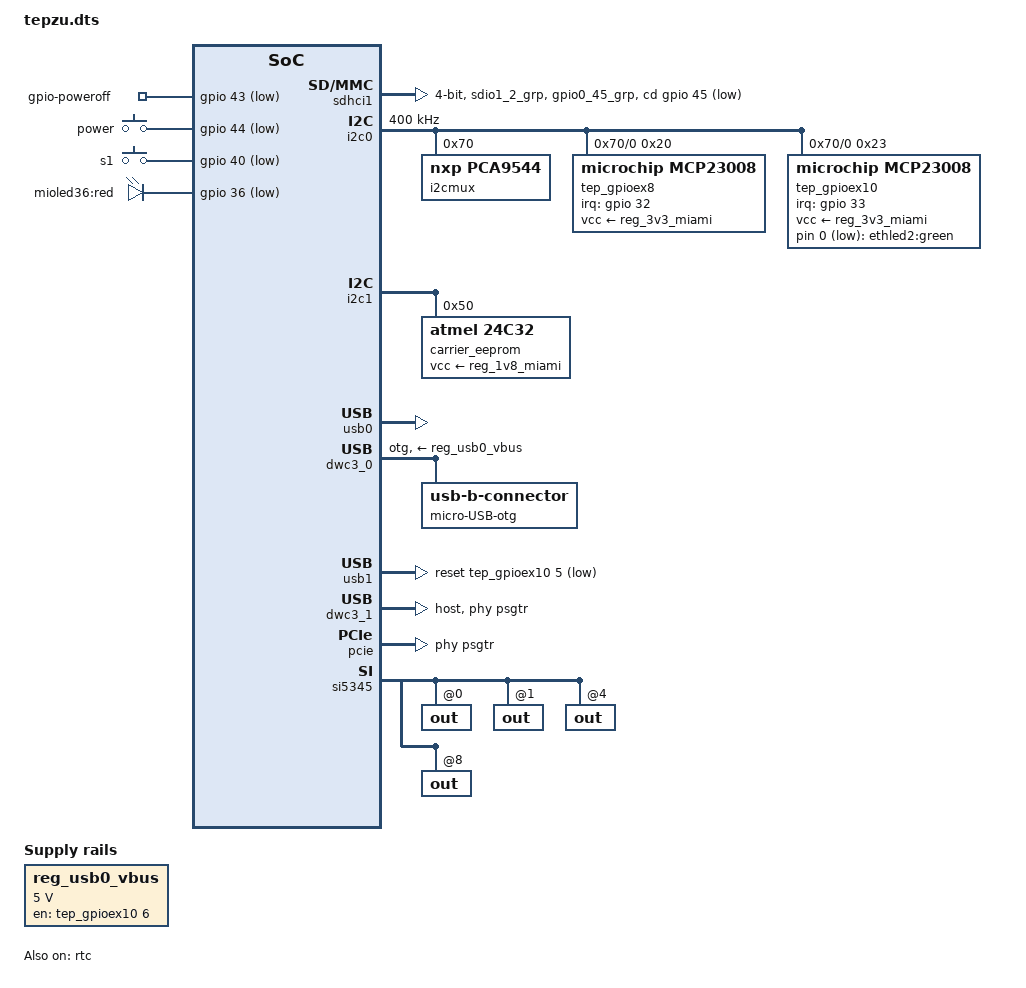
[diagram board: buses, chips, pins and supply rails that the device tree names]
/*
 * dts file for tepzu (Topic Developmentkit Plus) V2 boards without PL
 *
 * (C) Copyright 2020-2023, Topic Embedded Products BV
 *
 * This program is free software; you can redistribute it and/or
 * modify it under the terms of the GNU General Public License as
 * published by the Free Software Foundation; either version 2 of
 * the License, or (at your option) any later version.
 */

#include "zynqmp-topic-miamiplusmp.dts"

/ {
	gpio-poweroff {
		compatible = "gpio-poweroff";
		gpios = <&gpio 43 GPIO_ACTIVE_LOW>;
		force-pm-power-off; /* Replace the PSCI power-off callback */
	};

	gpio-keys-mio {
		compatible = "gpio-keys";
		#address-cells = <1>;
		#size-cells = <0>;
		power {
			label = "power";
			gpios = <&gpio 44 GPIO_ACTIVE_LOW>;
			linux,code = <116>; /* KEY_POWER */
		};
		s1 {
			label = "s1";
			gpios = <&gpio 40 GPIO_ACTIVE_LOW>;
			linux,code = <28>; /* KEY_ENTER */
		};
	};

	leds-mio {
		compatible = "gpio-leds";
		leds-mio36 {
			label = "mioled36:red";
			/* LED connected from 3v3 to 1v8 IO, must use open drain output */
			gpios = <&gpio 36 (GPIO_ACTIVE_LOW | GPIO_OPEN_DRAIN)>;
			linux,default-trigger = "mmc0"; /* eMMC activity */
		};
	};

	leds-gpioex {
		compatible = "gpio-leds";
		leds-eth2 {
			label = "ethled2:green";
			gpios = <&tep_gpioex10 0 GPIO_ACTIVE_LOW>;
			linux,default-trigger = "ff0d0000.ethernet-ffffffff:01:link";
		};
	};

	/* Regulator for the 5V USB VBUS power line. */
	reg_usb0_vbus: regulator_usb {
		compatible = "regulator-fixed";
		regulator-name = "usb0-vbus";
		regulator-min-microvolt = <5000000>;
		regulator-max-microvolt = <5000000>;
		gpio = <&tep_gpioex10 6 GPIO_ACTIVE_HIGH>;
		enable-active-high;
	};
};

/* SD1 */
&sdhci1 {
	status = "okay";
	bus-width = <4>;
	xlnx,mio_bank = <1>;
	pinctrl-names = "default";
	pinctrl-0 = <&pinctrl_sdhci1_default>;
	/* Use GPIO based card detect */
	cd-gpios = <&gpio 45 GPIO_ACTIVE_LOW>;
	no-1-8-v;
	disable-wp;
};

&i2c0 {
	status = "okay";
	clock-frequency = <400000>;

	/* I2C mux */
	i2cmux: i2cswitch@70 {
		compatible = "nxp,pca9544";
		#address-cells = <1>;
		#size-cells = <0>;
		reg = <0x70>;

		i2cmux_0: i2c@0 {
			#address-cells = <1>;
			#size-cells = <0>;
			reg = <0>;

			/* GPIO expander U8 */
			tep_gpioex8: mcp23009@20 {
				compatible = "microchip,mcp23008";
				reg = <0x20>;
				vcc-supply = <&reg_3v3_miami>;
				gpio-line-names = "", "PEWAKE0", "PEWAKE1", "USB_OTG_OC_N", "nPRSNT_M2C", "PG_M2C", "", "";
				gpio-controller;
				#gpio-cells = <2>;
				interrupt-controller;
				#interrupt-cells = <2>;
				interrupt-parent = <&gpio>;
				interrupts = <32 IRQ_TYPE_LEVEL_LOW>;
				pinctrl-names = "default";
				pinctrl-0 = <&gpio8pullups>;

				gpio8pullups: pinmux {
					pins =	"gpio0", "gpio1", "gpio2", "gpio3",
						"gpio4", "gpio5", "gpio6", "gpio7";
					bias-pull-up;
				};
			};

			/* GPIO expander U10 */
			tep_gpioex10: mcp23009@23 {
				compatible = "microchip,mcp23008";
				reg = <0x23>;
				vcc-supply = <&reg_3v3_miami>;
				gpio-line-names = "ETH_LED2", "GPIO_SW0", "GPIO_SW1", "HRESET", "", "USB_nRST", "USB2_5V_EN", "";
				gpio-controller;
				#gpio-cells = <2>;
				interrupt-controller;
				#interrupt-cells = <2>;
				interrupt-parent = <&gpio>;
				interrupts = <33 IRQ_TYPE_LEVEL_LOW>;
				pinctrl-names = "default";
				pinctrl-0 = <&gpio10pullups>;

				gpio10pullups: pinmux {
					pins =	"gpio0", "gpio1", "gpio2", "gpio3",
						"gpio4", "gpio5", "gpio6", "gpio7";
					bias-pull-up;
				};

				hog-hreset {
					gpio-hog;
					gpios = <3 0>;
					output-low;
					line-name = "HRESET";
				};
			};

			/* Also connected to PCIe switch */
		};

		/* FMC */
		i2cmux_1: i2c@1 {
			#address-cells = <1>;
			#size-cells = <0>;
			reg = <1>;
		};

		/* SYZYGY */
		i2cmux_2: i2c@2 {
			#address-cells = <1>;
			#size-cells = <0>;
			reg = <2>;
		};

		/* FTDI, USB, DP */
		i2cmux_3: i2c@3 {
			#address-cells = <1>;
			#size-cells = <0>;
			reg = <3>;
		};
	};
};

/* EEPROM on carrier is connected to bus 0 */
&i2c1 {
	carrier_eeprom: m24c32@50 {
		compatible = "atmel,24c32";
		reg = <0x50>;
		pagesize = <32>;
		vcc-supply = <&reg_1v8_miami>;
		#address-cells = <1>;
		#size-cells = <1>;
	};
};

&uart1 {
	status = "disabled";
};

&usb0 {
	status = "okay";
	/* see: https://forums.xilinx.com/t5/Embedded-Linux/Zynqmp-USB2-0/td-p/790522/page/2 */
	/delete-property/ clocks;
	/delete-property/ clock-names;
	clocks = <&zynqmp_clk USB0_BUS_REF>;
	clock-names = "bus_clk";
};

&dwc3_0 {
	status = "okay";
	dr_mode = "otg"; /* "host", "peripheral" or "otg" */
	maximum-speed = "high-speed"; /* super-speed not available on carrier */
	/* see: https://forums.xilinx.com/t5/Embedded-Linux/Zynqmp-USB2-0/td-p/790522/page/2 */
	snps,dis_u2_susphy_quirk;
	snps,dis_u3_susphy_quirk;
	/delete-property/ phy-names;
	/delete-property/ phys;
	/delete-property/ snps,usb3_lpm_capable;
	vbus-supply = <&reg_usb0_vbus>;
	connector {
		compatible = "usb-b-connector";
		label = "micro-USB-otg";
		type = "micro";
	};
};

&usb1 {
	status = "okay";
	/*
	 * Using Xilinx' borked implementation to add a reset for the HUB,
	 * otherwise SuperSpeed doesn't work.
	 */
	reset-gpios = <&tep_gpioex10 5 GPIO_ACTIVE_LOW>;
};

&dwc3_1 {
	status = "okay";
	dr_mode = "host";
	/* refclk0 from clock synth */
	assigned-clocks = <&si5345 0 3>;
	assigned-clock-rates = <100000000>;
	phy-names = "usb3-phy";
	phys = <&psgtr 3 PHY_TYPE_USB3 1 0>;
	maximum-speed = "super-speed";
	snps,usb3_lpm_capable;
};

&pcie {
	status = "okay";
	phys = <&psgtr 0 PHY_TYPE_PCIE 0 0>;
	/* refclk0 from clock synth */
	assigned-clocks      = <&si5345 0 3>;
	assigned-clock-rates =   <100000000>;
};

/* Displayport - HP and AUX signals through EMIO, enabled when PL probes */
&zynqmp_dpsub {
	phy-names = "dp-phy0";
	phys = <&psgtr 1 PHY_TYPE_DP 0 3>;
	xlnx,max-lanes = <1>;
	assigned-clocks = <&si5345 0 8>;
	assigned-clock-rates = <27000000>;
	assigned-clock-parents = <&si5345 1 1>;
};
&zynqmp_dpdma {
	status = "okay";
};

&si5345 {
	assigned-clock-parents = <0>, <0>, <0>, <0>, <0>,
				<&si5345 1 0>, /* out 0 */
				<&si5345 1 0>,
				<&si5345 1 0>,
				<&si5345 1 0>,
				<&si5345 1 0>,
				<&si5345 1 0>, /* out 5 */
				<&si5345 1 0>,
				<&si5345 1 0>,
				<&si5345 1 1>,
				<&si5345 1 0>;
	assigned-clock-rates =	<1000000000>, /* synth 0 */
				< 216000000>, /* Set synth 1 to 8 * 27 MHz */
				<0>,
				<0>,
				<0>,
				<125000000>, /* out 0 */
				<125000000>,
				<125000000>,
				<100000000>,
				<125000000>,
				< 25000000>, /* out 5 (ethernet) */
				<100000000>,
				<250000000>,
				< 27000000>, /* out 8 (PS refclk3 Displayport) */
				<100000000>;

	out@0 {
		always-on;
	};
	out@1 {
		always-on;
	};
	out@4 {
		/* 125MHz Clock for MGT bank 130 (firefly) */
		always-on;
	};
	out@8 {
		/* Displayport clock needs to generate 27MHz */
		silabs,pll-master;
	};
};

/* Carrier provides VBAT for RTC */
&rtc {
	status = "okay";
};

&gpio {
	pinctrl-names = "default";
	pinctrl-0 = <&pinctrl_gpio_default>;
};

&pinctrl0 {
	status = "okay";

	pinctrl_sdhci1_default: sdhci1-sd-default {
		/* SD using pins 46 .. 51 in 4-bit mode */
		mux {
			groups = "sdio1_2_grp";
			function = "sdio1";
		};
		conf {
			groups = "sdio1_2_grp";
			slew-rate = <SLEW_RATE_FAST>;
			power-source = <IO_STANDARD_LVCMOS18>;
			bias-disable;
		};

		/* Card detect on pin 45 */
		mux-cd {
			groups = "gpio0_45_grp";
			function = "gpio0";
		};
		conf-cd {
			groups = "gpio0_45_grp";
			bias-high-impedance;
			slew-rate = <SLEW_RATE_SLOW>;
			power-source = <IO_STANDARD_LVCMOS18>;
			bias-pull-up;
		};
	};

	pinctrl_gpio_default: gpio-default {
		mux {
			groups = "gpio0_32_grp", "gpio0_33_grp", "gpio0_40_grp", "gpio0_43_grp", "gpio0_44_grp";
			function = "gpio0";
		};
		conf-pull-up {
			groups = "gpio0_43_grp";
			slew-rate = <SLEW_RATE_SLOW>;
			io-standard = <IO_STANDARD_LVCMOS18>;
			bias-pull-up;
		};
		conf-button  {
			groups = "gpio0_40_grp", "gpio0_44_grp";
			slew-rate = <SLEW_RATE_SLOW>;
			io-standard = <IO_STANDARD_LVCMOS18>;
			input-schmitt-enable;
			bias-high-impedance;
			bias-pull-up;
		};
		conf-input {
			/* Interrupt pins */
			groups = "gpio0_32_grp", "gpio0_33_grp";
			slew-rate = <SLEW_RATE_SLOW>;
			io-standard = <IO_STANDARD_LVCMOS18>;
			bias-high-impedance;
			bias-disable; /* External pull-up and level shifter */
		};
	};
};
